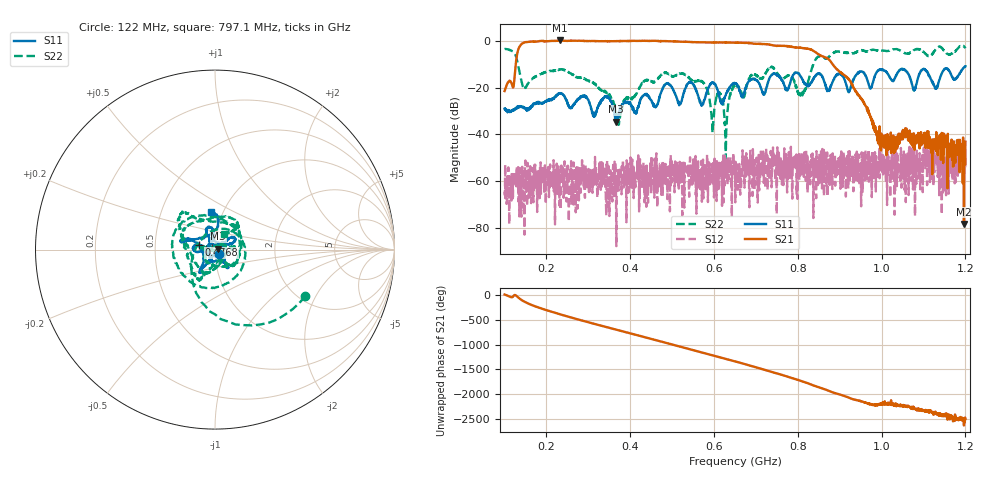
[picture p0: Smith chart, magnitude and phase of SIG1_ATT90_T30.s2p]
# Hz S DB R 50
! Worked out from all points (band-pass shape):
!   1601 points, 100 MHz to 1.2 GHz, reference 50 ohm
!   highest |S21| = 0.09 dB at 232 MHz (marker M1); lowest = -78.2 dB at 1.197 GHz (marker M2)
!   |S21| within 3 dB of the highest: 134.5 MHz to 794.1 MHz (659.7 MHz wide, 142 % of centre); 794.7111 MHz to 795.4738 MHz (762.7 kHz wide, 0.0959 % of centre) (the widest 2 of 3)
!   lowest |S11| = -34.6 dB at 365.4 MHz (marker M3), VSWR 1.04, Z = 51.8 + j0.597 ohm
!   |S11| at or under -10 dB: start of sweep to end of sweep
!   |S22| runs from -50.3 to -2.1 dB; largest |S21 - S12| = 1
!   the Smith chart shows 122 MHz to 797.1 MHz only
!   S11 on the Smith chart (normalised r, x): 122 MHz: 1.05, -0.05; 476.8 MHz: 0.83, +0.04; 797.1 MHz: 0.88, +0.38
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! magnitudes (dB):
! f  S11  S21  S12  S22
! 100 MHz  -29.0  -21.5  -64.5  -3.6
! 122 MHz  -29.6  -18.8  -58.0  -4.9
! 147.4 MHz  -28.5  -0.8  -82.7  -20.3
! 232 MHz  -22.4  0.1  -58.3  -12.3
! 283.6 MHz  -23.8  -0.1  -55.0  -15.8
! 365.4 MHz  -34.6  -0.2  -56.4  -30.4
! 467.1 MHz  -26.1  -0.1  -58.8  -15.8
! 476.8 MHz  -20.5  -0.2  -52.2  -14.2
! 518 MHz  -26.8  -0.4  -51.7  -14.2
! 544.8 MHz  -17.8  -0.6  -54.8  -16.6
! 573.7 MHz  -26.9  -0.7  -50.7  -17.7
! 596.4 MHz  -17.9  -0.8  -61.7  -39.3
! 612.9 MHz  -24.1  -0.7  -52.1  -22.0
! 628 MHz  -23.3  -0.8  -57.0  -50.3
! 650 MHz  -18.3  -0.9  -54.2  -19.2
! 736.6 MHz  -14.9  -1.8  -55.9  -11.2
! 797.1 MHz  -13.7  -3.0  -65.5  -19.9
! 833.6 MHz  -17.6  -4.0  -49.0  -11.7
! 1.017 GHz  -14.9  -41.1  -54.7  -4.3
! 1.13 GHz  -20.1  -44.4  -52.2  -3.5
! 1.197 GHz  -11.4  -78.2  -49.9  -2.4
! 1.2 GHz  -10.9  -43.1  -49.8  -3.3
